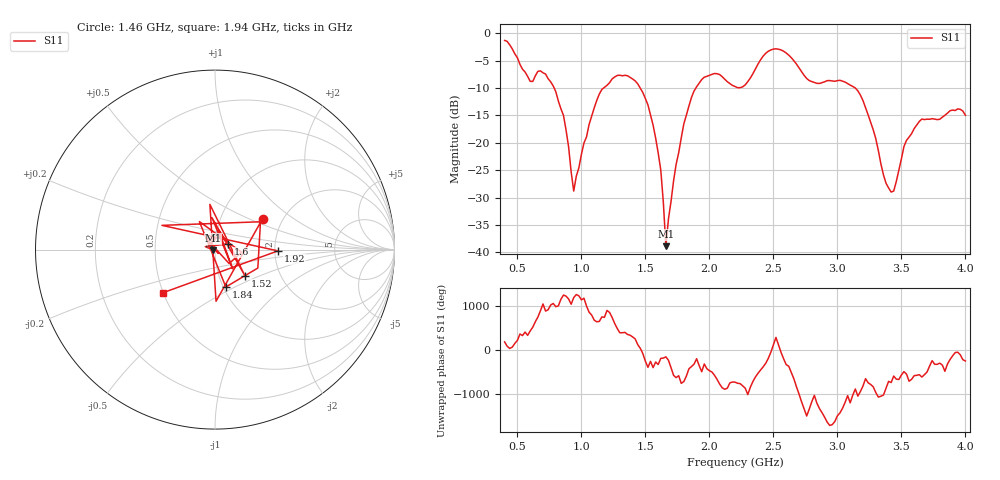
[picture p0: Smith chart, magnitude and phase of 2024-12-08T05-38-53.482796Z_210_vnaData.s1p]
!Created with skrf (http://scikit-rf.org).
# Hz S RI R 50.0
!freq ReS11 ImS11
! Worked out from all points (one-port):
!   181 points, 400 MHz to 4 GHz, reference 50 ohm
!   lowest |S11| = -38.9 dB at 1.66 GHz (marker M1), VSWR 1.02, Z = 48.9 - j0.324 ohm
!   |S11| at or under -10 dB: 787.3 MHz to 1.173 GHz (385.8 MHz wide, 39.4 % of centre); 1.46 GHz to 1.894 GHz (434.3 MHz wide, 25.9 % of centre); 3.14 GHz to end of sweep
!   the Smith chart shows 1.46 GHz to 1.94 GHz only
!   S11 on the Smith chart (normalised r, x): 1.46 GHz: 1.58, +0.60; 1.52 GHz: 1.33, -0.41; 1.6 GHz: 1.16, +0.07; 1.84 GHz: 1.03, -0.45; 1.92 GHz: 2.08, -0.03; 1.94 GHz: 0.50, -0.28
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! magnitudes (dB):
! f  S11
! 400 MHz  -1.3
! 600 MHz  -8.8
! 720 MHz  -7.4
! 860 MHz  -15.0
! 940 MHz  -28.8
! 1.12 GHz  -12.2
! 1.3 GHz  -7.7
! 1.46 GHz  -10.0
! 1.52 GHz  -13.1
! 1.6 GHz  -21.9
! 1.62 GHz  -25.0
! 1.66 GHz  -38.9
! 1.72 GHz  -27.0
! 1.76 GHz  -21.8
! 1.84 GHz  -13.3
! 1.92 GHz  -9.1
! 1.94 GHz  -8.4
! 2.06 GHz  -7.4
! 2.2 GHz  -9.7
! 2.48 GHz  -3.0
! 2.66 GHz  -5.0
! 2.78 GHz  -8.6
! 3.1 GHz  -9.4
! 3.2 GHz  -12.3
! 3.42 GHz  -29.0
! 3.56 GHz  -19.0
! 3.66 GHz  -15.7
! 4 GHz  -15.0
